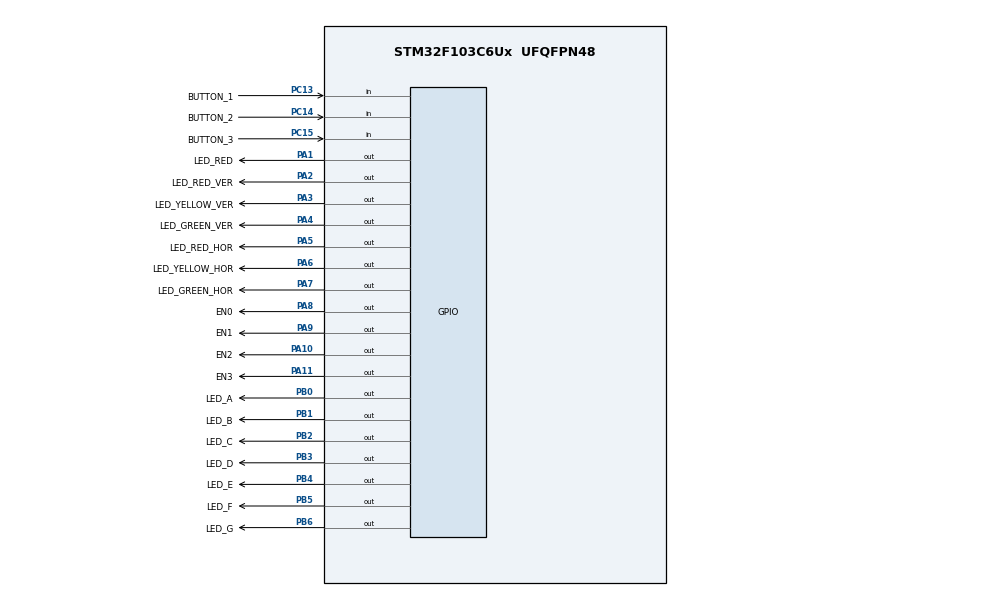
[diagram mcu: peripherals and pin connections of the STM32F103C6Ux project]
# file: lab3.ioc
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Mcu.Family=STM32F1
Mcu.Name=STM32F103C6Ux
Mcu.Package=UFQFPN48
NVIC.PriorityGroup=NVIC_PRIORITYGROUP_4
NVIC.TIM2_IRQn=true\:0\:0\:false\:false\:true\:true\:true
PA1.GPIO_Label=LED_RED
PA1.Signal=GPIO_Output
PA10.GPIO_Label=EN2
PA10.Signal=GPIO_Output
PA11.GPIO_Label=EN3
PA11.Signal=GPIO_Output
PA2.GPIO_Label=LED_RED_VER
PA2.Signal=GPIO_Output
PA3.GPIO_Label=LED_YELLOW_VER
PA3.Signal=GPIO_Output
PA4.GPIO_Label=LED_GREEN_VER
PA4.Signal=GPIO_Output
PA5.GPIO_Label=LED_RED_HOR
PA5.Signal=GPIO_Output
PA6.GPIO_Label=LED_YELLOW_HOR
PA6.Signal=GPIO_Output
PA7.GPIO_Label=LED_GREEN_HOR
PA7.Signal=GPIO_Output
PA8.GPIO_Label=EN0
PA8.Signal=GPIO_Output
PA9.GPIO_Label=EN1
PA9.Signal=GPIO_Output
PB0.GPIO_Label=LED_A
PB0.Signal=GPIO_Output
PB1.GPIO_Label=LED_B
PB1.Signal=GPIO_Output
PB2.GPIO_Label=LED_C
PB2.Signal=GPIO_Output
PB3.GPIO_Label=LED_D
PB3.Signal=GPIO_Output
PB4.GPIO_Label=LED_E
PB4.Signal=GPIO_Output
PB5.GPIO_Label=LED_F
PB5.Signal=GPIO_Output
PB6.GPIO_Label=LED_G
PB6.Signal=GPIO_Output
PC13-TAMPER-RTC.GPIO_Label=BUTTON_1
PC13-TAMPER-RTC.GPIO_PuPd=GPIO_PULLUP
PC13-TAMPER-RTC.Signal=GPIO_Input
PC14-OSC32_IN.GPIO_Label=BUTTON_2
PC14-OSC32_IN.GPIO_PuPd=GPIO_PULLUP
PC14-OSC32_IN.Signal=GPIO_Input
PC15-OSC32_OUT.GPIO_Label=BUTTON_3
PC15-OSC32_OUT.GPIO_PuPd=GPIO_PULLUP
PC15-OSC32_OUT.Signal=GPIO_Input
ProjectManager.HeapSize=0x200
ProjectManager.StackSize=0x400
ProjectManager.TargetToolchain=STM32CubeIDE
RCC.APB1Freq_Value=8000000
RCC.APB2Freq_Value=8000000
TIM2.Period=9
TIM2.Prescaler=7999
VP_SYS_VS_ND.Mode=No_Debug
VP_TIM2_VS_ClockSourceINT.Mode=Internal
board=custom

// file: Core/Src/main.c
/* USER CODE BEGIN Header */
/**
  ******************************************************************************
  * @file           : main.c
  * @brief          : Main program body
  ******************************************************************************
  * @attention
  *
  * <h2><center>&copy; Copyright (c) 2022 STMicroelectronics.
  * All rights reserved.</center></h2>
  *
  * This software component is licensed by ST under BSD 3-Clause license,
  * the "License"; You may not use this file except in compliance with the
  * License. You may obtain a copy of the License at:
  *                        opensource.org/licenses/BSD-3-Clause
  *
  ******************************************************************************
  */
/* USER CODE END Header */
#include "main.h"

/* USER CODE BEGIN Includes */
#include "button.h"
#include "fsm_automatic_1.h"
#include "fsm_automatic_2.h"
#include <fsm_mode.h>
#include <fsm_mode_Led7Seg.h>
#include <software_timer.h>
#include "led_display.h"

/* USER CODE END Includes */

TIM_HandleTypeDef htim2;

void SystemClock_Config(void);
static void MX_GPIO_Init(void);
static void MX_TIM2_Init(void);

int main(void)
{

  /* MCU Configuration--------------------------------------------------------*/

  /* Reset of all peripherals, Initializes the Flash interface and the Systick. */
  HAL_Init();

  /* Configure the system clock */
  SystemClock_Config();

  /* Initialize all configured peripherals */
  MX_GPIO_Init();
  MX_TIM2_Init();
  /* USER CODE BEGIN 2 */
  HAL_TIM_Base_Start_IT(&htim2);
  status_mode = INIT;
//  status_ver = INIT;
//  status_hor = INIT;
  //int status_led7seg = 0;
  //int index_led = 0;
  setTimer1(1000);
  setTimer2(1000);
  setTimer3(1000);
  setTimer4(1000);
  /* USER CODE END 2 */

  /* Infinite loop */
  /* USER CODE BEGIN WHILE */

  while (1)
  {
	  //fsm_for_input_processing();
	  fsm_mode_run();
	  fsm_automatic_1_run();
	  fsm_automatic_2_run();
	  fsm_mode_led7seg();

//	  if (timer3_flag == 1){
//		  updateLedBuffer(led12,led34);
//		  switch (status_led7seg) {
//		  case 0:
//			  SetLed7Seg1On();
//			  update7SEG(index_led);
//			  status_led7seg = 1;
//			  index_led++;
//			  break;
//		  case 1:
//			  SetLed7Seg2On();
//			  update7SEG(index_led);
//			  status_led7seg = 2;
//			  index_led++;
//			  break;
//		  case 2:
//			  SetLed7Seg3On();
//			  update7SEG(index_led);
//			  status_led7seg = 3;
//			  index_led++;
//			  break;
//		  case 3:
//			  SetLed7Seg4On();
//			  update7SEG(index_led);
//			  status_led7seg = 0;
//			  index_led = 0;
//			  led12--;
//			  led34--;
//			  break;
//		  default:
//			  break;
//		  }
//		  setTimer3(250);
//	  }
//	  if(timer4_flag == 1){
//
//		  	led12--;
//	  		led34--;
//	  		setTimer4(1000);
//	  }
	  //updateLedBuffer(timered, led34)
	  //fsm_mode_run();
    /* USER CODE END WHILE */

  }
}

void SystemClock_Config(void)
{
  RCC_OscInitTypeDef RCC_OscInitStruct = {0};
  RCC_ClkInitTypeDef RCC_ClkInitStruct = {0};

  /** Initializes the RCC Oscillators according to the specified parameters
  * in the RCC_OscInitTypeDef structure.
  */
  RCC_OscInitStruct.OscillatorType = RCC_OSCILLATORTYPE_HSI;
  RCC_OscInitStruct.HSIState = RCC_HSI_ON;
  RCC_OscInitStruct.HSICalibrationValue = RCC_HSICALIBRATION_DEFAULT;
  RCC_OscInitStruct.PLL.PLLState = RCC_PLL_NONE;
  if (HAL_RCC_OscConfig(&RCC_OscInitStruct) != HAL_OK)
  {
    Error_Handler();
  }
  /** Initializes the CPU, AHB and APB buses clocks
  */
  RCC_ClkInitStruct.ClockType = RCC_CLOCKTYPE_HCLK|RCC_CLOCKTYPE_SYSCLK
                              |RCC_CLOCKTYPE_PCLK1|RCC_CLOCKTYPE_PCLK2;
  RCC_ClkInitStruct.SYSCLKSource = RCC_SYSCLKSOURCE_HSI;
  RCC_ClkInitStruct.AHBCLKDivider = RCC_SYSCLK_DIV1;
  RCC_ClkInitStruct.APB1CLKDivider = RCC_HCLK_DIV1;
  RCC_ClkInitStruct.APB2CLKDivider = RCC_HCLK_DIV1;

  if (HAL_RCC_ClockConfig(&RCC_ClkInitStruct, FLASH_LATENCY_0) != HAL_OK)
  {
    Error_Handler();
  }
}

static void MX_TIM2_Init(void)
{

  TIM_ClockConfigTypeDef sClockSourceConfig = {0};
  TIM_MasterConfigTypeDef sMasterConfig = {0};

  htim2.Instance = TIM2;
  htim2.Init.Prescaler = 7999;
  htim2.Init.CounterMode = TIM_COUNTERMODE_UP;
  htim2.Init.Period = 9;
  htim2.Init.ClockDivision = TIM_CLOCKDIVISION_DIV1;
  htim2.Init.AutoReloadPreload = TIM_AUTORELOAD_PRELOAD_DISABLE;
  if (HAL_TIM_Base_Init(&htim2) != HAL_OK)
  {
    Error_Handler();
  }
  sClockSourceConfig.ClockSource = TIM_CLOCKSOURCE_INTERNAL;
  if (HAL_TIM_ConfigClockSource(&htim2, &sClockSourceConfig) != HAL_OK)
  {
    Error_Handler();
  }
  sMasterConfig.MasterOutputTrigger = TIM_TRGO_RESET;
  sMasterConfig.MasterSlaveMode = TIM_MASTERSLAVEMODE_DISABLE;
  if (HAL_TIMEx_MasterConfigSynchronization(&htim2, &sMasterConfig) != HAL_OK)
  {
    Error_Handler();
  }

}

static void MX_GPIO_Init(void)
{
  GPIO_InitTypeDef GPIO_InitStruct = {0};

  /* GPIO Ports Clock Enable */
  __HAL_RCC_GPIOC_CLK_ENABLE();
  __HAL_RCC_GPIOA_CLK_ENABLE();
  __HAL_RCC_GPIOB_CLK_ENABLE();

  /*Configure GPIO pin Output Level */
  HAL_GPIO_WritePin(GPIOA, LED_RED_Pin|LED_RED_VER_Pin|LED_YELLOW_VER_Pin|LED_GREEN_VER_Pin
                          |LED_RED_HOR_Pin|LED_YELLOW_HOR_Pin|LED_GREEN_HOR_Pin|EN0_Pin
                          |EN1_Pin|EN2_Pin|EN3_Pin, GPIO_PIN_RESET);

  /*Configure GPIO pin Output Level */
  HAL_GPIO_WritePin(GPIOB, LED_A_Pin|LED_B_Pin|LED_C_Pin|LED_D_Pin
                          |LED_E_Pin|LED_F_Pin|LED_G_Pin, GPIO_PIN_RESET);

  /*Configure GPIO pins : BUTTON_1_Pin BUTTON_2_Pin BUTTON_3_Pin */
  GPIO_InitStruct.Pin = BUTTON_1_Pin|BUTTON_2_Pin|BUTTON_3_Pin;
  GPIO_InitStruct.Mode = GPIO_MODE_INPUT;
  GPIO_InitStruct.Pull = GPIO_PULLUP;
  HAL_GPIO_Init(GPIOC, &GPIO_InitStruct);

  /*Configure GPIO pins : LED_RED_Pin LED_RED_VER_Pin LED_YELLOW_VER_Pin LED_GREEN_VER_Pin
                           LED_RED_HOR_Pin LED_YELLOW_HOR_Pin LED_GREEN_HOR_Pin EN0_Pin
                           EN1_Pin EN2_Pin EN3_Pin */
  GPIO_InitStruct.Pin = LED_RED_Pin|LED_RED_VER_Pin|LED_YELLOW_VER_Pin|LED_GREEN_VER_Pin
                          |LED_RED_HOR_Pin|LED_YELLOW_HOR_Pin|LED_GREEN_HOR_Pin|EN0_Pin
                          |EN1_Pin|EN2_Pin|EN3_Pin;
  GPIO_InitStruct.Mode = GPIO_MODE_OUTPUT_PP;
  GPIO_InitStruct.Pull = GPIO_NOPULL;
  GPIO_InitStruct.Speed = GPIO_SPEED_FREQ_LOW;
  HAL_GPIO_Init(GPIOA, &GPIO_InitStruct);

  /*Configure GPIO pins : LED_A_Pin LED_B_Pin LED_C_Pin LED_D_Pin
                           LED_E_Pin LED_F_Pin LED_G_Pin */
  GPIO_InitStruct.Pin = LED_A_Pin|LED_B_Pin|LED_C_Pin|LED_D_Pin
                          |LED_E_Pin|LED_F_Pin|LED_G_Pin;
  GPIO_InitStruct.Mode = GPIO_MODE_OUTPUT_PP;
  GPIO_InitStruct.Pull = GPIO_NOPULL;
  GPIO_InitStruct.Speed = GPIO_SPEED_FREQ_LOW;
  HAL_GPIO_Init(GPIOB, &GPIO_InitStruct);

}

void Error_Handler(void)
{
  __disable_irq();
  while (1)
  {
  }
}

/************************ (C) COPYRIGHT STMicroelectronics *****END OF FILE****/
